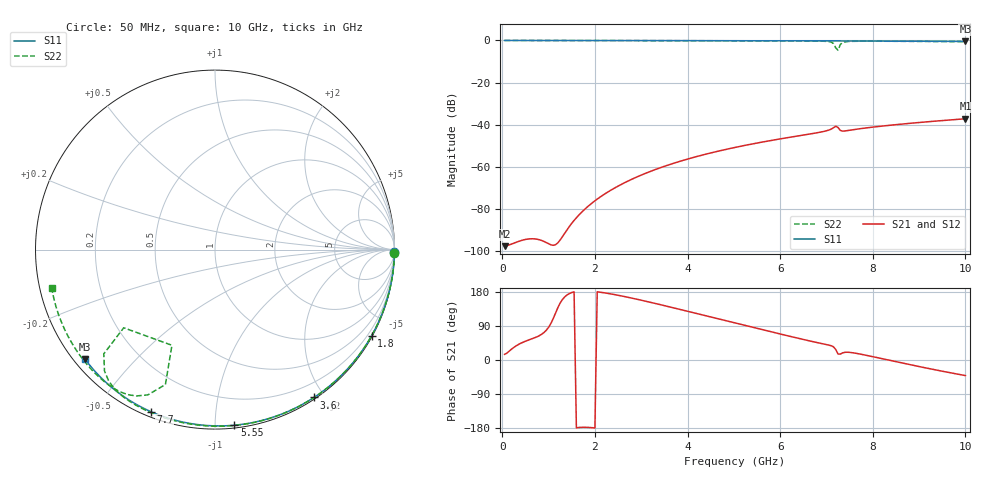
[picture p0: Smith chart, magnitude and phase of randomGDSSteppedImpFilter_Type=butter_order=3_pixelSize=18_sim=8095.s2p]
! freq	dB(S11)	phase(S11)	dB(S12)	phase(S12)
!  dB(S21)	phase(S21)	dB(S22)	phase(S22)
!S-par simulation data
#  GHz  S  DB  R 50
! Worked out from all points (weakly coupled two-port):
!   200 points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, 50 MHz to 10 GHz, reference 50 ohm
!   highest |S21| = -37.11 dB at 10 GHz (marker M1); lowest = -97.5 dB at 50 MHz (marker M2)
!   lowest |S11| = -0.5 dB at 10 GHz (marker M3), VSWR 36.61, Z = 1.55 - j18.2 ohm
!   |S11| at or under -10 dB: nowhere
!   |S22| runs from -4.7 to 0.0 dB; largest |S21 - S12| = 0
!   S11 on the Smith chart (normalised r, x): 50 MHz: open; 1.8 GHz: 0.03, -3.90; 3.6 GHz: 0.02, -1.87; 5.55 GHz: 0.02, -1.12; 7.7 GHz: 0.02, -0.68; 10 GHz: 0.03, -0.36
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0.05  -0.00 -0.8  -97.49 14.9  -97.49 14.9  -0.00 -1.0
0.85  -0.02 -13.7  -94.80 67.9  -94.80 67.9  -0.02 -16.3
1.75  -0.04 -28.0  -80.62 -177.5  -80.62 -177.5  -0.04 -33.2
1.8  -0.04 -28.8  -79.60 -177.6  -79.60 -177.6  -0.04 -34.1
2.1  -0.04 -33.5  -74.40 179.2  -74.40 179.2  -0.05 -39.7
2.5  -0.05 -39.6  -69.02 170.9  -69.02 170.9  -0.06 -46.9
3.4  -0.07 -53.2  -60.41 146.4  -60.41 146.4  -0.08 -62.9
3.6  -0.08 -56.2  -58.91 140.5  -58.91 140.5  -0.09 -66.4
5.05  -0.12 -76.9  -50.58 96.9  -50.58 96.9  -0.14 -90.8
5.55  -0.14 -83.7  -48.41 81.9  -48.41 81.9  -0.16 -99.0
6.7  -0.19 -98.9  -44.12 48.6  -44.12 48.6  -0.26 -118.8
7.05  -0.21 -103.5  -42.48 39.3  -42.48 39.3  -0.54 -129.2
7.15  -0.22 -104.7  -41.39 35.0  -41.39 35.0  -1.41 -136.8
7.2  -0.22 -105.4  -40.63 27.8  -40.63 27.8  -3.48 -139.4
7.25  -0.22 -106.0  -41.26 15.9  -41.26 15.9  -4.66 -114.2
7.3  -0.23 -106.6  -42.65 15.7  -42.65 15.7  -1.93 -110.2
7.35  -0.23 -107.3  -42.97 18.9  -42.97 18.9  -1.00 -114.8
7.5  -0.24 -109.2  -42.54 20.2  -42.54 20.2  -0.46 -122.6
7.7  -0.26 -111.7  -41.89 16.3  -41.89 16.3  -0.37 -128.0
8.35  -0.31 -119.8  -40.23 -0.5  -40.23 -0.5  -0.38 -139.7
9.2  -0.39 -130.2  -38.50 -22.3  -38.50 -22.3  -0.47 -153.5
10  -0.47 -139.9  -37.11 -41.1  -37.11 -41.1  -0.59 -166.9
